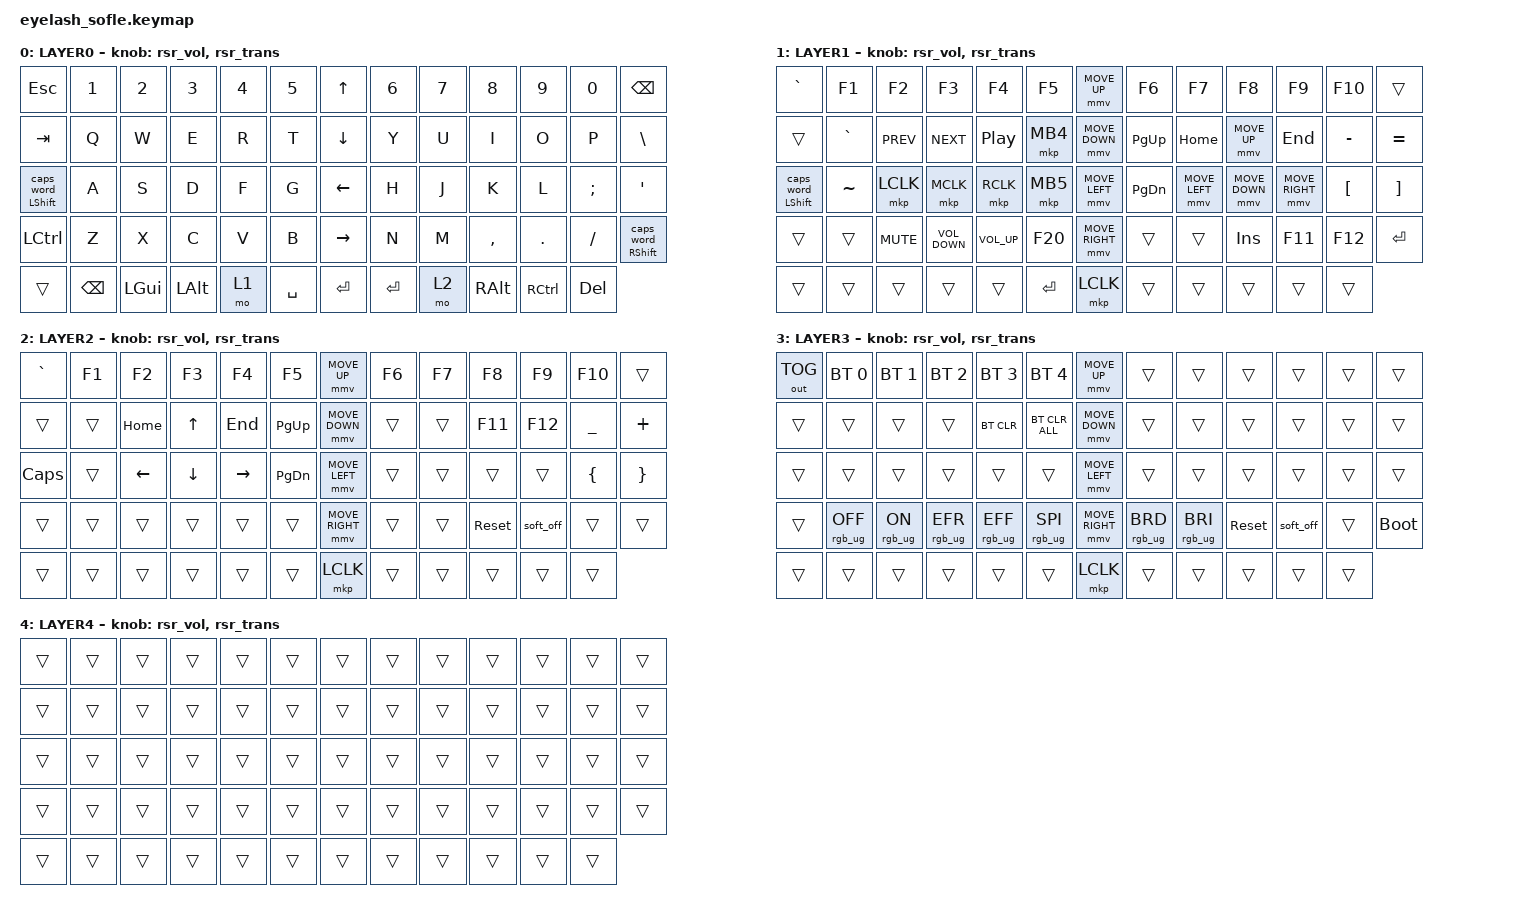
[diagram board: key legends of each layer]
#define ZMK_POINTING_DEFAULT_MOVE_VAL 1200  // 600
#define ZMK_POINTING_DEFAULT_SCRL_VAL 25   // 10

#include <input/processors.dtsi>
#include <zephyr/dt-bindings/input/input-event-codes.h>
#include <behaviors/runtime-sensor-rotate.dtsi>
#include <behaviors.dtsi>
#include <dt-bindings/zmk/bt.h>
#include <dt-bindings/zmk/keys.h>
#include <dt-bindings/zmk/outputs.h>
#include <dt-bindings/zmk/pointing.h>
#include <dt-bindings/zmk/rgb.h>

&mmv_input_listener { input-processors = <&zip_xy_scaler 2 1>; };

&msc_input_listener { input-processors = <&zip_scroll_scaler 2 1>; };

&msc {
    acceleration-exponent = <1>;      // 0
    time-to-max-speed-ms = <100>;       // 300
    delay-ms = <0>;                   // 0
};

&mmv {
    time-to-max-speed-ms = <500>;
    acceleration-exponent = <1>;
    trigger-period-ms = <16>;
};

&soft_off { hold-time-ms = <2000>; };

/ {
    scroll_encoder: scroll_encoder {
        compatible = "zmk,behavior-sensor-rotate";
        #sensor-binding-cells = <0>;
        bindings = <&msc SCRL_DOWN>, <&msc SCRL_UP>;

        tap-ms = <100>;
    };

    behaviors {
        rsr_vol: rsr_vol {
            compatible = "zmk,behavior-runtime-sensor-rotate";
            #sensor-binding-cells = <0>;
            tap-ms = <5>;
            cw-binding = <&kp C_VOL_UP>;
            ccw-binding = <&kp C_VOL_DN>;
        };

        rsr_trans: rsr_trans {
            compatible = "zmk,behavior-runtime-sensor-rotate";
            #sensor-binding-cells = <0>;
            tap-ms = <0>;
        };

        shift_caps: shift_caps {
            compatible = "zmk,behavior-hold-tap";
            label = "SHIFT_CAPS";
            bindings = <&kp>, <&caps_word>;

            #binding-cells = <2>;
            tapping-term-ms = <180>;
        };
    };

    combos {
        compatible = "zmk,combos";

        softoff {
            bindings = <&soft_off>;
            key-positions = <14 28 40>;
        };
    };

    macros {
        SHIFT_MCLK: SHIFT_MCLK {
            compatible = "zmk,behavior-macro";
            #binding-cells = <0>;
            bindings =
                <&macro_press>,
                <&kp LEFT_SHIFT>,
                <&macro_press>,
                <&mkp MB3>,
                <&macro_pause_for_release>,
                <&macro_release>,
                <&kp LEFT_SHIFT &mkp MB3>;

            label = "SHIFT_MCLK";
        };
    };

    keymap {
        compatible = "zmk,keymap";

        layer0 {
            bindings = <
&kp ESC                   &kp N1         &kp N2        &kp N3        &kp N4  &kp N5       &kp UP_ARROW     &kp N6     &kp N7  &kp N8         &kp N9             &kp N0      &kp BACKSPACE
&kp TAB                   &kp Q          &kp W         &kp E         &kp R   &kp T        &kp DOWN_ARROW   &kp Y      &kp U   &kp I          &kp O              &kp P       &kp BSLH
&shift_caps LEFT_SHIFT 0  &kp A          &kp S         &kp D         &kp F   &kp G        &kp LEFT_ARROW   &kp H      &kp J   &kp K          &kp L              &kp SEMI    &kp APOS
&kp LEFT_CONTROL          &kp Z          &kp X         &kp C         &kp V   &kp B        &kp RIGHT_ARROW  &kp N      &kp M   &kp COMMA      &kp DOT            &kp FSLH    &shift_caps RIGHT_SHIFT 0
&trans                    &kp BACKSPACE  &kp LEFT_GUI  &kp LEFT_ALT  &mo 1   &kp SPACE    &kp ENTER        &kp ENTER  &mo 2   &kp RIGHT_ALT  &kp RIGHT_CONTROL  &kp DELETE
            >;

            sensor-bindings = <&rsr_vol &rsr_trans>;
            display-name = "LAYER0";
        };

        layer_1 {
            bindings = <
&kp GRAVE                 &kp F1     &kp F2      &kp F3             &kp F4            &kp F5       &mmv MOVE_UP     &kp F6     &kp F7          &kp F8          &kp F9           &kp F10           &trans
&trans                    &kp GRAVE  &kp C_PREV  &kp C_NEXT         &kp C_PLAY_PAUSE  &mkp MB4     &mmv MOVE_DOWN   &kp PG_UP  &kp HOME        &mmv MOVE_UP    &kp END          &kp MINUS         &kp EQUAL
&shift_caps LEFT_SHIFT 0  &kp TILDE  &mkp LCLK   &mkp MCLK          &mkp RCLK         &mkp MB5     &mmv MOVE_LEFT   &kp PG_DN  &mmv MOVE_LEFT  &mmv MOVE_DOWN  &mmv MOVE_RIGHT  &kp LEFT_BRACKET  &kp RIGHT_BRACKET
&trans                    &trans     &kp C_MUTE  &kp C_VOLUME_DOWN  &kp C_VOL_UP      &kp F20      &mmv MOVE_RIGHT  &trans     &trans          &kp INSERT      &kp F11          &kp F12           &kp ENTER
&trans                    &trans     &trans      &trans             &trans            &kp ENTER    &mkp LCLK        &trans     &trans          &trans          &trans           &trans
            >;

            sensor-bindings = <&rsr_vol &rsr_trans>;
            display-name = "LAYER1";
        };

        layer_2 {
            bindings = <
&kp GRAVE     &kp F1  &kp F2          &kp F3          &kp F4           &kp F5       &mmv MOVE_UP     &kp F6  &kp F7  &kp F8      &kp F9     &kp F10    &trans
&trans        &trans  &kp HOME        &kp UP_ARROW    &kp END          &kp PG_UP    &mmv MOVE_DOWN   &trans  &trans  &kp F11     &kp F12    &kp UNDER  &kp PLUS
&kp CAPSLOCK  &trans  &kp LEFT_ARROW  &kp DOWN_ARROW  &kp RIGHT_ARROW  &kp PG_DN    &mmv MOVE_LEFT   &trans  &trans  &trans      &trans     &kp LBRC   &kp RBRC
&trans        &trans  &trans          &trans          &trans           &trans       &mmv MOVE_RIGHT  &trans  &trans  &sys_reset  &soft_off  &trans     &trans
&trans        &trans  &trans          &trans          &trans           &trans       &mkp LCLK        &trans  &trans  &trans      &trans     &trans
            >;

            display-name = "LAYER2";
            sensor-bindings = <&rsr_vol &rsr_trans>;
        };

        layer_3 {
            display-name = "LAYER3";
            bindings = <
&out OUT_TOG  &bt BT_SEL 0     &bt BT_SEL 1    &bt BT_SEL 2     &bt BT_SEL 3     &bt BT_SEL 4       &mmv MOVE_UP     &trans           &trans           &trans      &trans     &trans  &trans
&trans        &trans           &trans          &trans           &bt BT_CLR       &bt BT_CLR_ALL     &mmv MOVE_DOWN   &trans           &trans           &trans      &trans     &trans  &trans
&trans        &trans           &trans          &trans           &trans           &trans             &mmv MOVE_LEFT   &trans           &trans           &trans      &trans     &trans  &trans
&trans        &rgb_ug RGB_OFF  &rgb_ug RGB_ON  &rgb_ug RGB_EFR  &rgb_ug RGB_EFF  &rgb_ug RGB_SPI    &mmv MOVE_RIGHT  &rgb_ug RGB_BRD  &rgb_ug RGB_BRI  &sys_reset  &soft_off  &trans  &bootloader
&trans        &trans           &trans          &trans           &trans           &trans             &mkp LCLK        &trans           &trans           &trans      &trans     &trans
            >;

            sensor-bindings = <&rsr_vol>, <&rsr_trans>;
        };

        layer_4 {
            bindings = <
&trans  &trans  &trans  &trans  &trans  &trans    &trans  &trans  &trans  &trans  &trans  &trans  &trans
&trans  &trans  &trans  &trans  &trans  &trans    &trans  &trans  &trans  &trans  &trans  &trans  &trans
&trans  &trans  &trans  &trans  &trans  &trans    &trans  &trans  &trans  &trans  &trans  &trans  &trans
&trans  &trans  &trans  &trans  &trans  &trans    &trans  &trans  &trans  &trans  &trans  &trans  &trans
&trans  &trans  &trans  &trans  &trans  &trans    &trans  &trans  &trans  &trans  &trans  &trans
            >;

            display-name = "LAYER4";
            sensor-bindings = <&rsr_vol &rsr_trans>;
        };
    };

    conditional_layers {
        compatible = "zmk,conditional-layers";

        activate-layer3 {
            if-layers = <1 2>;
            then-layer = <3>;
        };
    };
};
